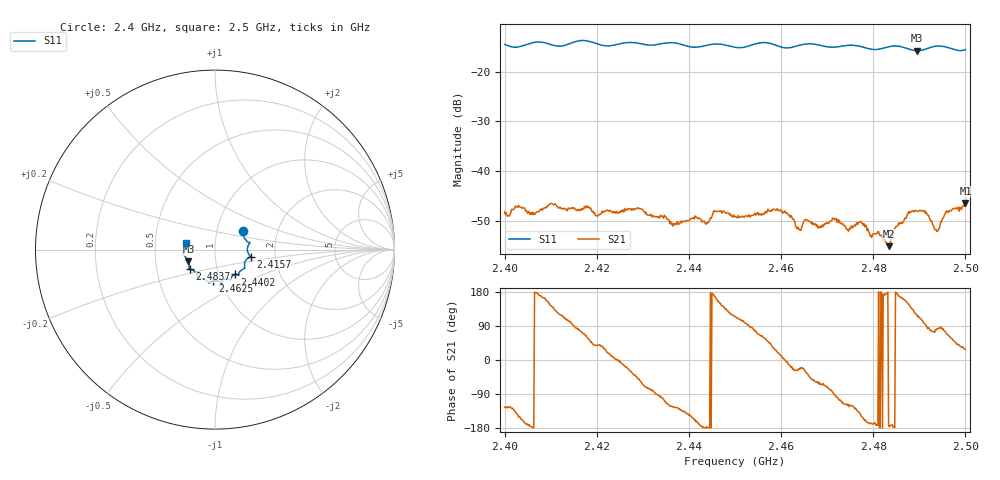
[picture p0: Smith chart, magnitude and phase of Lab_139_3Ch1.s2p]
# Hz S RI R 50
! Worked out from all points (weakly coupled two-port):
!   601 points, 2.4 GHz to 2.5 GHz, reference 50 ohm
!   highest |S21| = -46.41 dB at 2.5 GHz (marker M1); lowest = -55.1 dB at 2.4833 GHz (marker M2)
!   lowest |S11| = -15.8 dB at 2.4895 GHz (marker M3), VSWR 1.39, Z = 36.8 - j4.97 ohm
!   |S11| at or under -10 dB: start of sweep to end of sweep
!   S12 and S22 are empty: the file has one direction only
!   S11 on the Smith chart (normalised r, x): 2.4 GHz: 1.33, +0.29; 2.4157 GHz: 1.49, -0.12; 2.4402 GHz: 1.20, -0.34; 2.4625 GHz: 0.92, -0.33; 2.4837 GHz: 0.74, -0.17; 2.5 GHz: 0.72, +0.06
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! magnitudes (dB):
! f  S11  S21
! 2.4 GHz  -14.5  -48.1
! 2.4103 GHz  -14.6  -46.5
! 2.4157 GHz  -13.9  -47.9
! 2.4167 GHz  -13.7  -47.6
! 2.4292 GHz  -14.3  -47.6
! 2.4333 GHz  -14.5  -49.1
! 2.4402 GHz  -15.0  -49.9
! 2.444 GHz  -14.7  -50.5
! 2.4458 GHz  -14.5  -48.1
! 2.45 GHz  -15.1  -49.1
! 2.4587 GHz  -14.6  -47.7
! 2.4625 GHz  -15.1  -49.6
! 2.4638 GHz  -14.7  -51.6
! 2.4667 GHz  -14.4  -50.2
! 2.4775 GHz  -15.0  -50.4
! 2.4833 GHz  -15.0  -55.1
! 2.4837 GHz  -14.9  -54.5
! 2.4852 GHz  -14.9  -51.0
! 2.4895 GHz  -15.8  -48.1
! 2.4938 GHz  -14.9  -52.1
! 2.496 GHz  -15.1  -48.0
! 2.5 GHz  -15.6  -46.4
